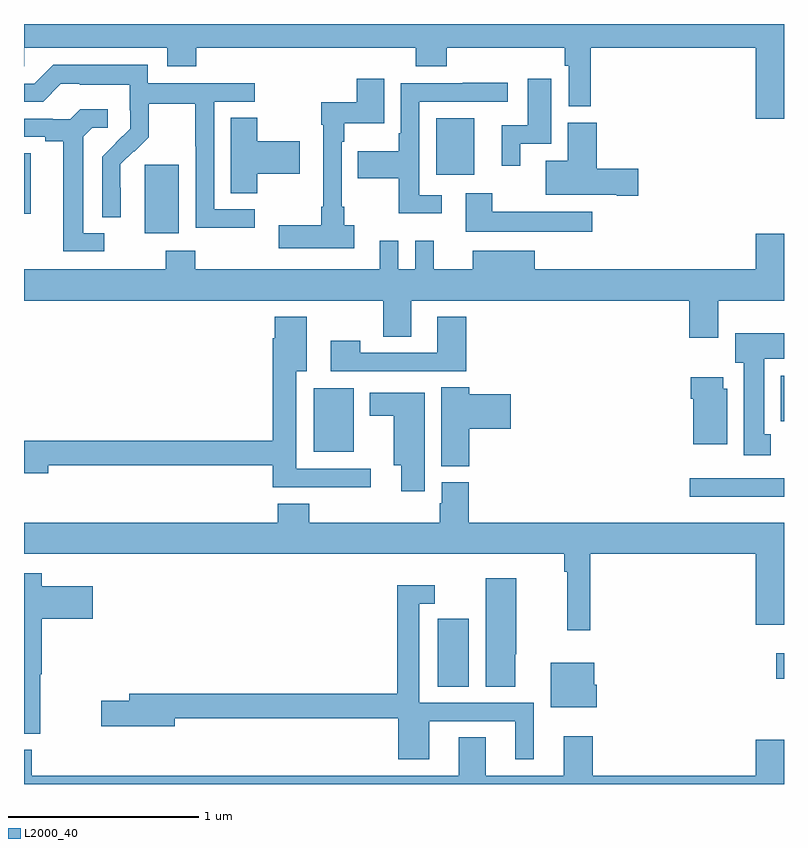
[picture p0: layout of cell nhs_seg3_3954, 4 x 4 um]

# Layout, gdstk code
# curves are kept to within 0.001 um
import gdstk
lib = gdstk.Library(unit=1e-6, precision=1e-09)
def R(c, l, rs):  # rectangles x0, y0, x1, y1
    for r in rs: c.add(gdstk.rectangle(r[:2], r[2:], *l))
def P(c, l, *ps):  # polygons
    for p in ps: c.add(gdstk.Polygon(p, *l))
L2000_40 = (2000, 40)

nhs_seg3_3954 = lib.new_cell('nhs_seg3_3954')
R(nhs_seg3_3954, L2000_40, [(319.178,670.912,319.342,671.269), (320.958,670.955,321,671.089), (320.505,671.912,321,672.009), (318.524,672.149,318.736,672.484), (320.984,672.308,321,672.55), (317.636,673.298,317.815,673.659), (317,673.401,317.035,673.721), (319.169,673.607,319.369,673.903)])
P(nhs_seg3_3954, L2000_40, [(321,674.4),(317,674.4),(317,674.178),(317.001,674.178),(317.001,674.276),(317.753,674.276),(317.753,674.177),(317.906,674.177),(317.906,674.276),(319.061,674.276),(319.061,674.177),(319.226,674.177),(319.226,674.276),(319.846,674.276),(319.846,674.18),(319.866,674.18),(319.866,673.968),(319.982,673.968),(319.982,674.276),(320.852,674.276),(320.852,673.902),(321,673.902)],
  [(318.214,673.425),(318,673.425),(318,673.992),(318.214,673.992),(318.214,674.088),(317.652,674.088),(317.652,674.185),(317.155,674.185),(317.055,674.085),(317,674.085),(317,673.992),(317.1,673.992),(317.193,674.085),(317.293,674.085),(317.293,674.081),(317.556,674.081),(317.556,673.947),(317.558,673.947),(317.558,673.85),(317.412,673.702),(317.412,673.384),(317.508,673.384),(317.507,673.661),(317.577,673.731),(317.58,673.728),(317.657,673.805),(317.657,673.98),(317.902,673.98),(317.902,673.756),(317.904,673.756),(317.904,673.327),(318.214,673.327)],
  [(318.739,673.342),(318.685,673.342),(318.685,673.438),(318.672,673.438),(318.672,673.781),(318.685,673.781),(318.685,673.877),(318.895,673.877),(318.895,674.113),(318.752,674.113),(318.752,673.987),(318.564,673.987),(318.564,673.871),(318.576,673.871),(318.576,673.438),(318.564,673.438),(318.564,673.342),(318.342,673.342),(318.342,673.22),(318.739,673.22)],
  [(319.612,673.77),(319.774,673.77),(319.774,674.113),(319.652,674.113),(319.652,673.866),(319.514,673.866),(319.514,673.653),(319.612,673.653)],
  [(319.198,673.5),(319.08,673.5),(319.08,673.992),(319.546,673.992),(319.546,674.09),(319.309,674.09),(319.309,674.088),(318.984,674.088),(318.984,673.825),(318.972,673.825),(318.972,673.729),(318.757,673.729),(318.757,673.589),(318.972,673.589),(318.972,673.403),(319.198,673.403)],
  [(317.422,673.299),(317.311,673.299),(317.311,673.807),(317.358,673.854),(317.44,673.854),(317.44,673.951),(317.296,673.951),(317.244,673.899),(317.15,673.899),(317.15,673.902),(317,673.902),(317,673.806),(317.111,673.806),(317.111,673.784),(317.207,673.784),(317.207,673.203),(317.422,673.203)],
  [(318.228,673.613),(318.451,673.613),(318.451,673.784),(318.228,673.784),(318.228,673.907),(318.089,673.907),(318.089,673.51),(318.228,673.51)],
  [(320.233,673.637),(320.015,673.637),(320.015,673.879),(319.862,673.879),(319.862,673.681),(319.745,673.681),(319.745,673.502),(320.12,673.502),(320.12,673.495),(320.233,673.495)],
  [(319.99,673.411),(319.465,673.411),(319.465,673.51),(319.325,673.51),(319.325,673.307),(319.99,673.307)],
  [(320.653,672.944),(321,672.944),(321,673.297),(320.852,673.297),(320.852,673.108),(319.687,673.108),(319.687,673.207),(319.361,673.207),(319.361,673.108),(319.157,673.108),(319.157,673.258),(319.059,673.258),(319.059,673.108),(318.969,673.108),(318.969,673.258),(318.872,673.258),(318.872,673.108),(317.901,673.108),(317.901,673.207),(317.746,673.207),(317.746,673.108),(317,673.108),(317,672.944),(318.892,672.944),(318.892,672.754),(319.039,672.754),(319.039,672.944),(320.501,672.944),(320.501,672.75),(320.653,672.75)],
  [(319.328,672.859),(319.175,672.859),(319.175,672.669),(318.771,672.669),(318.771,672.733),(318.615,672.733),(318.615,672.573),(319.328,672.573)],
  [(318.826,672.06),(318.433,672.06),(318.433,672.572),(318.487,672.572),(318.487,672.859),(318.32,672.859),(318.32,672.746),(318.308,672.746),(318.308,672.206),(317,672.206),(317,672.035),(317.128,672.035),(317.128,672.078),(318.308,672.078),(318.308,671.963),(318.826,671.963)],
  [(320.929,672.242),(320.896,672.242),(320.896,672.638),(321,672.638),(321,672.772),(320.744,672.772),(320.744,672.618),(320.789,672.618),(320.789,672.129),(320.929,672.129)],
  [(320.701,672.48),(320.68,672.48),(320.68,672.541),(320.51,672.541),(320.51,672.428),(320.522,672.428),(320.522,672.188),(320.701,672.188)],
  [(319.343,672.269),(319.561,672.269),(319.561,672.452),(319.343,672.452),(319.343,672.488),(319.196,672.488),(319.196,672.073),(319.343,672.073)],
  [(319.108,672.46),(318.821,672.46),(318.821,672.338),(318.947,672.338),(318.947,672.077),(318.986,672.077),(318.986,671.94),(319.108,671.94)],
  [(319.979,671.612),(320.852,671.612),(320.852,671.238),(321,671.238),(321,671.776),(319.34,671.776),(319.34,671.988),(319.199,671.988),(319.199,671.877),(319.187,671.877),(319.187,671.776),(318.5,671.776),(318.5,671.875),(318.335,671.875),(318.335,671.776),(317,671.776),(317,671.612),(319.843,671.612),(319.843,671.516),(319.858,671.516),(319.858,671.208),(319.979,671.208)],
  [(317.086,670.977),(317.093,670.977),(317.093,671.27),(317.362,671.27),(317.362,671.44),(317.093,671.44),(317.093,671.509),(317,671.509),(317,670.665),(317.086,670.665)],
  [(319.585,671.082),(319.591,671.082),(319.591,671.482),(319.43,671.482),(319.43,670.912),(319.585,670.912)],
  [(319.132,670.731),(319.586,670.731),(319.586,670.53),(319.684,670.53),(319.684,670.827),(319.08,670.827),(319.08,671.349),(319.162,671.349),(319.162,671.446),(318.964,671.446),(318.964,670.874),(317.555,670.874),(317.555,670.838),(317.406,670.838),(317.406,670.703),(317.794,670.703),(317.794,670.746),(318.971,670.746),(318.971,670.53),(319.132,670.53)],
  [(320.014,670.923),(320.002,670.923),(320.002,671.038),(319.772,671.038),(319.772,670.805),(320.014,670.805)],
  [(321,670.633),(320.852,670.633),(320.852,670.444),(319.994,670.444),(319.994,670.651),(319.841,670.651),(319.841,670.444),(319.429,670.444),(319.429,670.646),(319.289,670.646),(319.289,670.444),(317.042,670.444),(317.042,670.58),(317,670.58),(317,670.4),(321,670.4)])

lib.write_gds('nhs_seg3_3954.gds')
